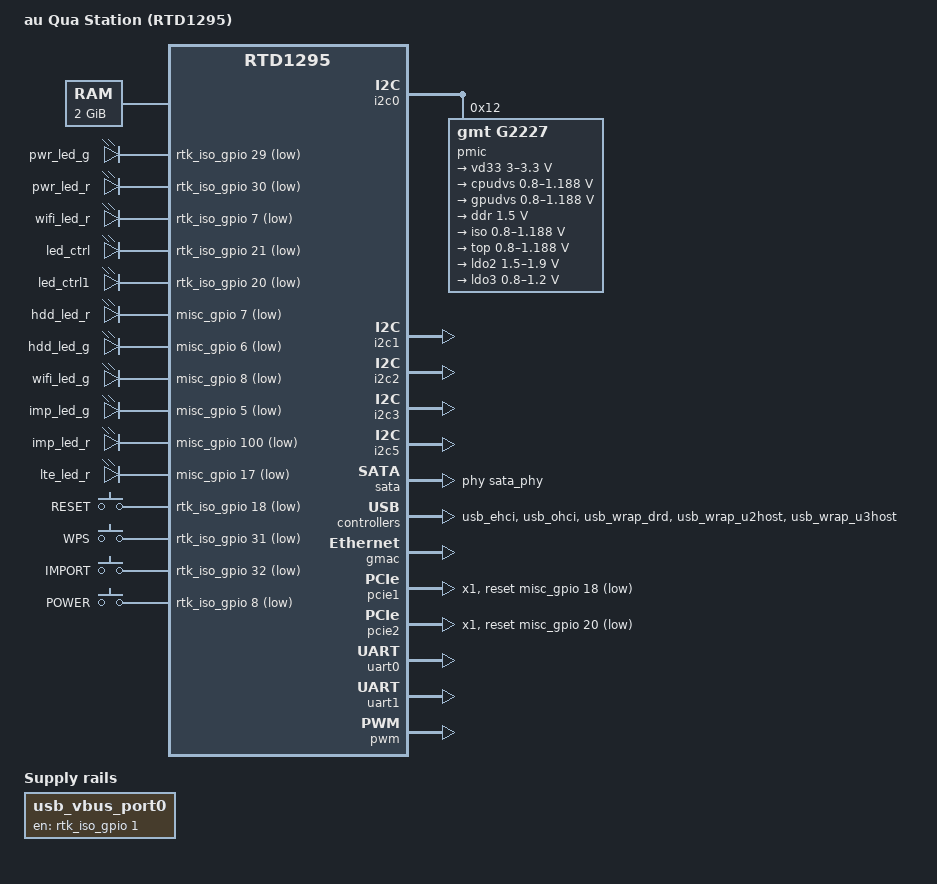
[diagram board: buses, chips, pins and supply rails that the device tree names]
// SPDX-License-Identifier: (GPL-2.0-or-later OR BSD-2-Clause)
/*
 * au Qua Station (KDDI/ASKEY HVD1, RTD1295) -- derived from rtd1295-wd-mycloud-home.dts (symops/monarch-6.18)
 * 2026-09-19 Qua v2.0 DRAFT. WD My Cloud Home device tree
 * Based on Realtek RTD1295 SoC
 *
 * Ported from kernel 4.9.330 to 6.18.2
 * Based on third-party Debian device tree from Russian forum
 * Optimized for Debian/Linux (not Android)
 */

/dts-v1/;

/*
 * Protect the USB-rescue-loader's ramdisk staging area (rescue.root.sata.
 * cpio.gz_pad.img is loaded here, at the fixed address U-Boot's
 * boot_rescue_from_usb script uses). Matches the vendor rescue DTS
 * (rtd-1295-monarch-rescue.dts): ROOTFS_RESCUE_START/SIZE from
 * include/soc/realtek/memory.h. Without this reservation and the
 * chosen/linux,initrd-* properties below, the kernel never learns the
 * ramdisk is there at all -- confirmed on real hardware: U-Boot's own FDT
 * memreserve dump only lists 3 regions without this line (vs. 10 on a
 * working 4.9.330 rescue boot), and the kernel panics with "Unable to
 * mount root fs" instead of "Trying to unpack rootfs image as initramfs".
 */
/memreserve/	0x0000000000000000 0x0000000000030000;
/memreserve/	0x000000000001f000 0x0000000000001000;
/memreserve/	0x0000000000030000 0x00000000000d0000;
/memreserve/	0x0000000002c00000 0x000000000b800000;
/memreserve/	0x0000000001b00000 0x0000000000400000;
/memreserve/	0x0000000002600000 0x0000000000600000;
/memreserve/	0x0000000001ffe000 0x0000000000004000;
/memreserve/	0x0000000011000000 0x0000000009200000;
/memreserve/	0x0000000010000000 0x0000000000014000;
/memreserve/	0x0000000002200000 0x0000000000400000;
/memreserve/	0x0000000001f00000 0x000000000000c000;
/memreserve/	0x0000000010100000 0x0000000000f00000;

#include "rtd1295.dtsi"
#include <dt-bindings/gpio/gpio.h>
#include <dt-bindings/input/input.h>
#include <dt-bindings/thermal/thermal.h>
#include <dt-bindings/reset/realtek,rtd1295.h>

/ {
	compatible = "kddi,qua-station", "askey,hvd1", "realtek,rtd1295";
	model = "au Qua Station (RTD1295)";

	/*
	 * NOTE: The third-party Debian tree this was derived from reports 1 GiB RAM.
	 * Do NOT assume 2 GiB unless confirmed on the target device.
	 *
	 * Also note: this SoC is ARM64, but the upstream RTD129x DTS uses
	 * #address-cells = <1> / #size-cells = <1> at the root (32-bit cells).
	 * That's fine as long as all addresses are below 4 GiB.
	 */
	memory@0 {
		device_type = "memory";
		reg = <0x0 0x80000000>; /* Qua: 2 GiB (BSP memory@0) */
	};

	aliases {
		serial0 = &uart0;
		serial1 = &uart1;
		serial2 = &uart2;
		i2c0 = &i2c0;
		i2c1 = &i2c1;
	};

	chosen {
		bootargs = "earlycon=uart8250,mmio32,0x98007800 console=ttyS0,115200 panic=5";
		stdout-path = "serial0:115200n8";
		/*
		 * ROOTFS_RESCUE_START, see the /memreserve/ comment above.
		 * End is start+4MB, not the full 12MB reservation: the
		 * USB-rescue loader reads a fixed 4194304-byte block for
		 * rescue.root.sata.cpio.gz_pad.img regardless of the real
		 * gzip payload size (matches the working 4.9.330 rescue
		 * boot log: "Freeing initrd memory: 4096K").
		 */
	};

	/* Reserved memory - clean version without vendor rsvmem-remap overlaps */
	reserved-memory {
		#address-cells = <1>;
		#size-cells = <1>;
		ranges;

		linux,cma {
			compatible = "shared-dma-pool";
			reusable;
			size = <0x02000000>;
			linux,cma-default;
		};

		/* ramoops for kernel crash log persistence */
		ramoops@22000000 {
			compatible = "ramoops";
			reg = <0x22000000 0x200000>;
			record-size = <0x4000>;
			console-size = <0x100000>;
			ftrace-size = <0x4000>;
		};
	};

	/* Note: ION memory management is simplified for Debian
	 * Original Debian version kept minimal ION config for compatibility
	 * Full ION nodes will be added if needed
	 */
};

&rbus {
	/*
	 * Vendor RTD129x interrupt mux.
	 *
	 * The vendor I2C binding uses two-cell interrupts (<bank line>) with
	 * interrupt-parent pointing at this mux. The mux itself is chained from
	 * two GIC SPIs (40 and 41) in the extracted DTS.
	 */
	mux_intc: interrupt-controller@1b000 {
		compatible = "Realtek,rtk-irq-mux";
		/* v18: enabled. The earlier "stuck ISO_ISR bit2" was a probe
		 * artifact - the register is a normal W1C event latch (bit0 =
		 * WRITE_DATA convention, see vendor rtk_iso.h), but every probe
		 * command itself generated uart traffic that re-latched the bit.
		 * The real storm cause was printk inside the mux handler feeding
		 * the console uart; the driver is silent now.
		 */
		status = "okay";
		interrupt-controller;
		#interrupt-cells = <2>;

		/* v15: full vendor contract for irq-rtd129x.c - two muxes:
		 * index 0 = MISC @ 0x1b000 (GIC SPI 40), index 1 = ISO @ 0x7000
		 * (GIC SPI 41). intr-status/intr-en are per-mux register offsets;
		 * without them the driver reads uninitialized stack values.
		 */
		Realtek,mux-nr = <2>;
		intr-status = <0x0c 0x00>;
		intr-en = <0x80 0x40>;

		interrupt-parent = <&gic>;
		interrupts = <GIC_SPI 40 IRQ_TYPE_LEVEL_HIGH>,
			     <GIC_SPI 41 IRQ_TYPE_LEVEL_HIGH>;

		/* register windows used by the vendor driver */
		reg = <0x1b000 0x100>, <0x7000 0x100>;
	};

	/*
	 * I2C buses (vendor binding: "realtek,rtk-i2c").
	 */
	i2c0: i2c@7d00 {
		compatible = "realtek,rtk-i2c";
		reg = <0x7d00 0x100>, <0x7000 0x100>;
		interrupt-parent = <&mux_intc>;
		interrupts = <1 8>;
		i2c-num = <0>;
		status = "okay";
		#address-cells = <1>;
		#size-cells = <0>;

		pmic@12 {
			compatible = "gmt,g2227";
			reg = <0x12>;
			status = "okay";

			regulators {
				compatible = "gmt,g2227-regulator";
				status = "okay";

				dc1 { regulator-boot-on; regulator-always-on; regulator-name = "vd33"; regulator-min-microvolt = <3000000>; regulator-max-microvolt = <3300000>; regulator-initial-mode = <1>; };
				dc2 { regulator-boot-on; regulator-always-on; regulator-name = "cpudvs"; regulator-min-microvolt = <800000>; regulator-max-microvolt = <1187500>; regulator-initial-mode = <0>; regulator-state-mem { regulator-off-in-suspend; }; };
				dc3 { regulator-boot-on; regulator-always-on; regulator-name = "gpudvs"; regulator-min-microvolt = <800000>; regulator-max-microvolt = <1187500>; regulator-initial-mode = <0>; regulator-ramp-delay = <625>; regulator-state-mem { regulator-off-in-suspend; }; };
				dc4 { regulator-boot-on; regulator-always-on; regulator-name = "ddr"; regulator-min-microvolt = <1500000>; regulator-max-microvolt = <1500000>; regulator-initial-mode = <0>; regulator-state-coldboot { regulator-off-in-suspend; }; };
				dc5 { regulator-boot-on; regulator-always-on; regulator-name = "iso"; regulator-min-microvolt = <800000>; regulator-max-microvolt = <1187500>; regulator-initial-mode = <0>; };
				dc6 { regulator-boot-on; regulator-always-on; regulator-name = "top"; regulator-min-microvolt = <800000>; regulator-max-microvolt = <1187500>; regulator-initial-mode = <0>; regulator-state-mem { regulator-off-in-suspend; }; };
				ldo2 { regulator-boot-on; regulator-always-on; regulator-name = "ldo2"; regulator-min-microvolt = <1500000>; regulator-max-microvolt = <1900000>; regulator-initial-mode = <0>; regulator-state-mem { regulator-off-in-suspend; }; };
				ldo3 { regulator-boot-on; regulator-always-on; regulator-name = "ldo3"; regulator-min-microvolt = <800000>; regulator-max-microvolt = <1200000>; regulator-initial-mode = <0>; regulator-state-mem { regulator-off-in-suspend; }; };
			};
		};
	};

	i2c1: i2c@7c00 {
		compatible = "realtek,rtk-i2c";
		reg = <0x7c00 0x100>, <0x7000 0x100>;
		interrupt-parent = <&mux_intc>;
		interrupts = <1 11>;
		i2c-num = <1>;
		status = "okay";
		#address-cells = <1>;
		#size-cells = <0>;
	};

	i2c2: i2c@1b700 {
		compatible = "realtek,rtk-i2c";
		reg = <0x1b700 0x100>, <0x1b00c 0x100>;
		interrupt-parent = <&mux_intc>;
		interrupts = <0 26>;
		i2c-num = <2>;
		status = "okay";
		#address-cells = <1>;
		#size-cells = <0>;
	};

	i2c3: i2c@1b900 {
		compatible = "realtek,rtk-i2c";
		reg = <0x1b900 0x100>, <0x1b00c 0x100>;
		interrupt-parent = <&mux_intc>;
		interrupts = <0 23>;
		i2c-num = <3>;
		status = "okay";
		#address-cells = <1>;
		#size-cells = <0>;
	};

	i2c4: i2c@1ba00 {
		compatible = "realtek,rtk-i2c";
		reg = <0x1ba00 0x100>, <0x1b00c 0x100>;
		interrupt-parent = <&mux_intc>;
		interrupts = <0 15>;
		i2c-num = <4>;
		status = "disabled";
		#address-cells = <1>;
		#size-cells = <0>;
	};

	i2c5: i2c@1bb00 {
		compatible = "realtek,rtk-i2c";
		reg = <0x1bb00 0x100>, <0x1b00c 0x100>;
		interrupt-parent = <&mux_intc>;
		interrupts = <0 14>;
		i2c-num = <5>;
		status = "okay";
		#address-cells = <1>;
		#size-cells = <0>;
	};

	/*
	 * ISO_GPIO block -- mainline drivers/gpio/gpio-rtd.c
	 * ("realtek,rtd1295-iso-gpio"), ported from symops/pelican-6.18's
	 * Duo board (same RTD129x-family register layout, same driver, same
	 * mux_intc bank/bit -- see that repo's
	 * rtd1296-wd-mycloud-home-duo.dts for the full derivation of the
	 * reg/interrupts values below, cross-checked here against this
	 * board's own vendor rtd-1295.dtsi rtk_iso_gpio node, which is
	 * identical to Duo's on every field that matters (gpio_base=101,
	 * gpio_numbers=35, mux bank 1 bits 19/20, ISO_GPIO@98007100 /
	 * ISO_SYS@98007000).
	 *
	 * reg[1] is 0x10 bytes, not the vendor's full 0x100-byte page, for
	 * the exact same reason as Duo: that page (&iso, syscon@7000 in
	 * rtd129x.dtsi) is shared with already-working peripherals at their
	 * own small sub-ranges -- pwm@d0 (this board's SYS LED and fan) and
	 * iso_reset@88 -- and claiming the vendor's full reg size here
	 * broke both of those with "-EBUSY: can't request region" on real
	 * Duo hardware before being caught and fixed there. 0x10 bytes
	 * covers only gpa_offset[0]=0x8/gpda_offset[0]=0xc (bank 0, GPIOs
	 * 0-30), same as Duo.
	 */
	rtk_iso_gpio: gpio@7100 {
		compatible = "realtek,rtd1295-iso-gpio";
		reg = <0x7100 0x100>, <0x7000 0x10>;
		interrupt-parent = <&mux_intc>;
		interrupts = <1 19>, <1 20>;
		gpio-controller;
		#gpio-cells = <2>;
		status = "okay";
	};

	/* misc GPIO controller (0x9801b100 = rbus offset 0x1b100).
	 * Same driver as rtk_iso_gpio (gpio-rtd.c: realtek,rtd1295-misc-gpio),
	 * 101 GPIOs (gpio_base=0).
	 *
	 * reg[1] MUST be 0x100, not the 0x10 used by rtk_iso_gpio above.
	 * The iso analogy does not hold: gpio-rtd.c's misc table puts the
	 * per-bank IRQ registers at gpa_offset = {0x40,0x44,0xa4,0xb8} /
	 * gpda_offset = {0x54,0x58,0xa8,0xbc}, whereas iso only needs
	 * gpa[0]=0x8 / gpda[0]=0xc -- so 0x10 leaves *every* misc bank out
	 * of range, bank 0 included. run21 shipped 0x10 and appeared to
	 * work only because ioremap is page-granular (0x1b000-0x1bfff is
	 * one page), so the out-of-bounds accesses went through silently;
	 * that would have become a wrong-register write the moment a GPIO
	 * interrupt consumer (gpio-keys, rfkill) was attached -- the access
	 * stays inside the same mapped page, so it silently hits whatever
	 * register happens to live at that offset instead of faulting.
	 *
	 * There is also no -EBUSY hazard against mux_intc's <0x1b000 0x100>:
	 * irq-rtd129x.c uses of_iomap() (no request_region), as do the
	 * i2c2-i2c5 nodes that map the same window. The iso-side -EBUSY that
	 * motivated the original shrink came from pwm@d0 / iso_reset@88,
	 * which do take devm reservations; nothing equivalent sits here.
	 *
	 * Consumers: gpio-leds (misc 5/6/7/8/17/100), sata power-gpios (16),
	 * pcie1/pcie2 reset-gpios (18/20). misc 19 = USB port power: never touch.
	 */
	misc_gpio: gpio@1b100 {
		compatible = "realtek,rtd1295-misc-gpio";
		reg = <0x1b100 0x100>, <0x1b000 0x100>;
		interrupt-parent = <&mux_intc>;
		interrupts = <0 19>, <0 20>;
		gpio-controller;
		#gpio-cells = <2>;
		status = "okay";
	};

	/*
	 * Cosmetic power-off -- see drivers/power/reset/wdmc-poweroff.c for
	 * the full story on why this isn't a real power cut. reg[0] is the
	 * pwm@d0 block's own OCD register (4 bytes, all 4 channels packed
	 * into one word -- see that node's own comment on why this can't be
	 * an exclusive devm_platform_ioremap_resource() claim).
	 *
	 * USB VBUS: identified from a captured *stock-firmware* boot log of
	 * this exact physical unit (rtk_usb_manager: power-gpio id=19 for
	 * port0, id=102 for port1+port2 sharing one physical port -- global
	 * Linux gpio numbers; misc-gpio's own gpio_base=0/101 lines and
	 * rtk_iso_gpio's gpio_base=101/35 lines, both confirmed in the
	 * vendor's rtd-1295.dtsi, put those at misc-gpio bit 19 directly and
	 * rtk_iso_gpio local line 1 respectively). Unlike Duo (both ports on
	 * rtk_iso_gpio), Monarch's stock split lands one port on misc-gpio,
	 * which has no mainline gpiolib controller in this port -- reg[1]/
	 * reg[2] (DATO/DIR) plus wd,misc-gpio-vbus-bit are the raw-MMIO path
	 * for that one bit; rtk_iso_gpio line 1 is a normal gpiod consumer,
	 * same as Duo's lines. Not yet hardware-tested on Monarch (Duo's
	 * equivalent needed a several-second hold, not a brief pulse, to
	 * show any effect at all -- see wdmc-poweroff.c's header comment).
	 */

	/*
	 * SATA PHY + AHCI controller.
	 * PHY driver: drivers/phy/realtek/phy-rtk-sata.c (mainline)
	 * AHCI reg shrunk to 0xf00 to avoid overlap with PHY at 0x3ff00.
	 */
	sata_phy: sata-phy@3ff00 {
		compatible = "Realtek,rtk-sata-phy";
		reg = <0x3ff00 0x100>, <0x1a980 0x10>;
		#address-cells = <1>;
		#size-cells = <0>;
		#phy-cells = <1>;
		/* run27: clk_en_sata_alive_0 (CRT 0x0c bit 7), as in the 4.9 DTB */
		clocks = <&clk_en_crt 7>;
		status = "okay";

		sata-phy@0 {
			reg = <0>;
			spread-spectrum = <0>;

			/*
			 * Monarch (WD My Cloud Home) board-specific PHY
			 * calibration, copied verbatim from the vendor
			 * rtd-1295-monarch-1GB.dts (sata_phy@9803FF60).
			 * The mainline driver's built-in defaults are for a
			 * different reference board and leave the link dead
			 * (SStatus 0, no OOB signaling at all) on this unit.
			 */


		};
	};

	sata: sata@3f000 {
		compatible = "realtek,rtd1295-ahci";
		reg = <0x3f000 0xf00>;
		interrupts = <GIC_SPI 28 IRQ_TYPE_LEVEL_HIGH>;
		phys = <&sata_phy 0>;
		phy-names = "sata-phy";
		/*
		 * run27: clk_en_sata_0 (bit 2) + clk_en_sata_alive_0 (bit 7),
		 * same pair the 4.9 DTB gives sata@9803F000. Both were
		 * hw_enable=N in clk_summary on run26 -> the 0xdeadbeef reads.
		 * libahci_platform picks these up via devm_clk_bulk_get_all().
		 */
		clocks = <&clk_en_crt 2>, <&clk_en_crt 7>;
		/*
		 * run27b: CRT reset bank1 bits 5 (RSTN_SATA_0), 7
		 * (RSTN_SATA_PHY_0), 10 (RSTN_SATA_PHY_POW_0) -- the 4.9 DTB's
		 * sata-port@0 resets. Measured on QuaStation's USB boot path
		 * with clocks already on: 0x98000000 == 0xa7800755, i.e. bits
		 * 5 and 7 still ASSERTED (unlike Monarch, whose bootloader
		 * releases them), and every AHCI/PHY register reads 0xdeadbeef.
		 * libahci_platform deasserts these after enabling clocks
		 * (AHCI_PLATFORM_GET_RESETS), before phy_init().
		 */
		resets = <&reset1 5>, <&reset1 7>, <&reset1 10>;
		/*
		 * run27c: drive-bay power. QuaStation = misc GPIO 16 (vendor
		 * sata-port@0 gpios), NOT the Monarch's misc 18. Confirmed live:
		 * with 16 low the link stays at SStatus 0; gpioset 16=1 + rescan
		 * brought the 1TB SSD up at 3.0 Gbps.
		 */
		power-gpios = <&misc_gpio 16 GPIO_ACTIVE_HIGH>;
		status = "okay";
	};

	/*
	 * GMAC — RTD1295 SoC-internal Gigabit Ethernet.
	 * Uses vendor platform driver r8169soc (compatible "Realtek,r8168").
	 *
	 * Two register ranges, both RBUS-relative:
	 *   0x16000  1K  — MAC registers        (absolute 0x98016000)
	 *   0x7000   1K  — ISO domain registers (absolute 0x98007000)
	 *
	 * The driver uses mmio_clkaddr (range 1) for clock-gate and reset
	 * control of the ETN block.  No RTD1295 clock driver exists in
	 * mainline 6.18, so clocks are declared as optional in r8169soc.c
	 * (hardware clocks remain enabled from the vendor bootloader at
	 * kexec time).
	 *
	 * output-mode = 0 → embedded PHY (RGMII internal).
	 * mac-version  = 0x2a → RTL8168H embedded MAC.
	 */
	/*
	 * v19: USB. RTD1295 has three dwc3 blocks; the WD My Cloud Home's
	 * rear USB-A port is served by the u2host block (vendor-enabled) and
	 * u3host (vendor-disabled but SS-wired). DRD (vendor: adb gadget) is
	 * left out. PHYs are the mainline realtek phy-rtk-usb2/usb3 drivers;
	 * their reg windows live inside the vendor dwc3 wrapper regions.
	 * Resets are the 9 lines the vendor usb-manager deasserts, as shared
	 * arrays so both controllers can list the common ones. clk_en_usb
	 * (CRT 0x0c bit 4) and the VBUS gpio (misc-gpio 19) are poked from
	 * the initramfs - no mainline clk/needed-gpio wiring yet.
	 */
	usb2phy_u2: usb-phy@13c14 {
		compatible = "realtek,rtd1295-usb2phy";
		reg = <0x13c14 0x4>, <0x31280 0x4>;
		#phy-cells = <0>;
	};

	usb2phy_u3: usb-phy@13e14 {
		compatible = "realtek,rtd1295-usb2phy";
		reg = <0x13e14 0x4>, <0x1f8280 0x4>;
		#phy-cells = <0>;
	};

	usb3phy_u3: usb-phy@13e10 {
		compatible = "realtek,rtd1295-usb3phy";
		reg = <0x13e10 0x4>;
		#phy-cells = <0>;
	};

	/* v42: on-die thermal sensor (scpu_wrapper block) */
	soc_thermal: thermal-sensor@1d150 {
		compatible = "realtek,rtd129x-thermal-sensor";
		reg = <0x1d150 0x20>;
		#thermal-sensor-cells = <0>;
	};

	usb2phy_drd: usb-phy@13214 {
		compatible = "realtek,rtd1295-usb2phy";
		reg = <0x13214 0x4>, <0x28280 0x4>;
		#phy-cells = <0>;
	};

	usb3phy_drd: usb-phy@13210 {
		compatible = "realtek,rtd1295-usb3phy";
		reg = <0x13210 0x4>;
		#phy-cells = <0>;
	};

	/* v43: vendor "port2" = the box's standalone USB 2.0 socket.
	 * The 4.9 vendor DTB routes it through EHCI 0x98013000 + OHCI 0x98013400
	 * (rtd-129x-usb.dtsi: port2 = <&ehci &ohci>), NOT through any dwc3/xhci
	 * block -- which is why mainline, having no ehci/ohci node at all, sees
	 * absolutely nothing when a device is plugged into that socket.
	 *
	 * Prerequisites already satisfied by the existing tree:
	 *  - reset: u2phy2 == <&reset2 RTD1295_RSTN_USB_PHY2> is already
	 *    deasserted by usb_u2host above.
	 *  - clocks: rtd-129x-usb.dtsi declares no clock-names at all on 1295
	 *    (clk_en_phy*_to_host only exists on 139x/16xx), so the vendor
	 *    manager's clk calls are no-ops here. Nothing to gate.
	 *  - VBUS: realtek,port2-power-gpio = <&rtk_misc_gpio 19> and it is
	 *    shared with port1 (the on-board LTE modem), which enumerates fine,
	 *    so the rail is already up. Tested by hand: driving misc19 either
	 *    way changes nothing.
	 *
	 * Open question: the vendor PHY "Realtek,rtd129x-usb_phy_rle0599" writes
	 * page0/page1 parameter blocks that have no mainline equivalent. We first
	 * try without any phy at all -- if the host registers but never detects a
	 * device, that pins the failure on the missing PHY programming.
	 * OHCI additionally wants wrap_reg 0x98013820, which generic-ohci does not
	 * touch, so EHCI (high speed) is the one to judge by.
	 */
	usb_ehci: usb@13000 {
		compatible = "generic-ehci";
		reg = <0x13000 0x100>;
		interrupts = <GIC_SPI 21 IRQ_TYPE_LEVEL_HIGH>;
	};

	usb_ohci: usb@13400 {
		compatible = "generic-ohci";
		reg = <0x13400 0x100>;
		interrupts = <GIC_SPI 21 IRQ_TYPE_LEVEL_HIGH>;
	};

	usb_wrap_drd: usb@13200 {
		/* v21: the DRD block drives the physical USB-A port on this box
		 * (vendor ran it as an adb gadget and role-switched in software;
		 * u3host is unwired). Run it as a plain host.
		 */
		compatible = "realtek,rtd1295-dwc3", "realtek,rtd-dwc3";
		reg = <0x13200 0x200>;
		#address-cells = <1>;
		#size-cells = <1>;
		ranges;

		usb_drd: usb@20000 {
			compatible = "snps,dwc3";
			reg = <0x20000 0x9000>;
			interrupts = <GIC_SPI 21 IRQ_TYPE_LEVEL_HIGH>;
			phys = <&usb2phy_drd>, <&usb3phy_drd>;
			phy-names = "usb2-phy", "usb3-phy";
			dr_mode = "host";
			snps,dis_u2_susphy_quirk;
			snps,dis_ss_park_mode;
			resets = <&reset1 RTD1295_RSTN_USB>,
				 <&reset1 RTD1295_RSTN_USB_PHY0>,
				 <&reset1 RTD1295_RSTN_USB3_PHY0_POW>,
				 <&reset1 RTD1295_RSTN_USB3_P0_MDIO>;
		};
	};

	usb_wrap_u2host: usb@13c00 {
		/* v20: mainline dwc3-rtk glue wrapper. The parent compatible
		 * "realtek,rtd-dwc3" also makes dwc3 core use the RTD globals
		 * offset 0x8100 instead of 0xc100 (the v39 -EBUSY failure).
		 */
		compatible = "realtek,rtd1295-dwc3", "realtek,rtd-dwc3";
		reg = <0x13c00 0x200>;
		#address-cells = <1>;
		#size-cells = <1>;
		ranges;

		usb_u2host: usb@29000 {
			compatible = "snps,dwc3";
			reg = <0x29000 0x9000>;
			interrupts = <GIC_SPI 21 IRQ_TYPE_LEVEL_HIGH>;
			phys = <&usb2phy_u2>;
			phy-names = "usb2-phy";
			dr_mode = "host";
			snps,dis_u2_susphy_quirk;
			resets = <&reset1 RTD1295_RSTN_USB>,
				 <&reset1 RTD1295_RSTN_USB_PHY0>,
				 <&reset1 RTD1295_RSTN_USB_PHY1>,
				 <&reset2 RTD1295_RSTN_USB_PHY2>,
				 <&reset2 RTD1295_RSTN_USB_PHY3>;
		};
	};

	usb_wrap_u3host: usb@13e00 {
		compatible = "realtek,rtd1295-dwc3", "realtek,rtd-dwc3";
		reg = <0x13e00 0x200>;
		#address-cells = <1>;
		#size-cells = <1>;
		ranges;

		usb_u3host: usb@1f0000 {
			compatible = "snps,dwc3";
			reg = <0x1f0000 0x9000>;
			interrupts = <GIC_SPI 21 IRQ_TYPE_LEVEL_HIGH>;
			phys = <&usb2phy_u3>, <&usb3phy_u3>;
			phy-names = "usb2-phy", "usb3-phy";
			dr_mode = "host";
			snps,dis_u2_susphy_quirk;
			snps,dis_ss_park_mode;
			resets = <&reset1 RTD1295_RSTN_USB>,
				 <&reset1 RTD1295_RSTN_USB3_PHY0_POW>,
				 <&reset1 RTD1295_RSTN_USB3_P0_MDIO>,
				 <&reset2 4>,
				 <&reset2 RTD1295_RSTN_USB3_P1_MDIO>;
		};
	};

	gmac: ethernet@16000 {
		compatible = "Realtek,r8168";
		reg = <0x16000 0x1000>, <0x7000 0x1000>;
		interrupt-parent = <&gic>;
		interrupts = <GIC_SPI 22 IRQ_TYPE_LEVEL_HIGH>;
		resets = <&iso_reset RTD1295_ISO_RSTN_GMAC>,
			 <&iso_reset RTD1295_ISO_RSTN_GPHY>;
		reset-names = "gmac", "gphy";
		output-mode = <0>;
		mac-version = <0x2a>;
		ext-phy-id = <1>;
		rtl-config = <1>;
		rtl-features = <2>;
		eee = <1>;
		rgmii-voltage = <1>;
		rgmii-tx-delay = <0>;
		rgmii-rx-delay = <0>;
		status = "okay";
	};

	/*
	 * SPI-NOR flash controller (SFC). Single fixed chip, no child
	 * nodes -- matches the vendor DTS (sfc@9801a800). This is the
	 * same 1MB boot SPI-NOR that holds the FSBL; mtd0 offset 0 is the
	 * vendor's dedicated RTC timestamp scratch area (see rtc-rtk.c /
	 * the WD-RTC driver below), verified safe on real hardware before
	 * porting (confirmed valid {seconds, ~seconds} pair already there,
	 * not FSBL data).
	 */
	/*
	 * run28: PCIe root ports. Driver drivers/pci/controller/pcie-rtd129x.c
	 * (A. Faerber's, with the soc_device dependency replaced by a direct
	 * SB2 CHIP_REV read via realtek,sb2-syscon). Live QuaStation: A01, so
	 * only the PHY_A quirk applies (= vendor phys_a table); no SB4 quirk,
	 * and the vendor's pinmux write is commented out in the BSP too.
	 *  slot1 (pcie1, PCIe 1.1): RTL8192EE 2.4GHz  clk crt@c bit1, PERST misc 18
	 *  slot2 (pcie2, PCIe 2.0): RTL8812AE 5GHz    clk crt@10 bit5, PERST misc 20
	 * Reset ids / clock bits / IRQs / MMIO windows machine-checked against
	 * the running 4.9 DTB (pcie@9804E000, pcie2@9803B000). Vendor slot2
	 * has speed-mode = 0 (GEN1) -> max-link-speed = <1> here as well.
	 */
	pcie1: pci@4e000 {
		device_type = "pci";
		compatible = "realtek,rtd1295-pcie-1.1";
		reg = <0x4e000 0x1000>,
		      <0x4f000 0x1000>,
		      <0xc0000000 0x01000000>;
		realtek,sb2-syscon = <&sb2>;
		clocks = <&clk_en_crt 1>;
		resets = <&reset2 RTD1295_RSTN_PCIE0>,
			 <&reset2 RTD1295_RSTN_PCIE0_CORE>,
			 <&reset2 RTD1295_RSTN_PCIE0_POWER>,
			 <&reset2 RTD1295_RSTN_PCIE0_STITCH>,
			 <&reset2 RTD1295_RSTN_PCIE0_NONSTICH>,
			 <&reset2 RTD1295_RSTN_PCIE0_PHY>,
			 <&reset4 RTD1295_RSTN_PCIE0_PHY_MDIO>;
		reset-names = "pcie", "pcie_core", "pcie_power", "pcie_stitch",
			      "pcie_nonstitch", "pcie_phy", "pcie_phy_mdio";
		reset-gpios = <&misc_gpio 18 GPIO_ACTIVE_LOW>;
		interrupts = <GIC_SPI 61 IRQ_TYPE_LEVEL_HIGH>;
		#interrupt-cells = <1>;
		interrupt-map-mask = <0 0 0 7>;
		interrupt-map = <0 0 0 1 &pcie1_intc 0>,
				<0 0 0 2 &pcie1_intc 1>,
				<0 0 0 3 &pcie1_intc 2>,
				<0 0 0 4 &pcie1_intc 3>;
		bus-range = <0x00 0xff>;
		num-lanes = <1>;
		max-link-speed = <1>;
		linux,pci-domain = <0>;
		#address-cells = <3>;
		#size-cells = <2>;
		ranges = <0x02000000 0x00000000 0xc0000000  0xc0000000  0x00000000 0x01000000>;
		status = "okay";

		pcie1_intc: interrupt-controller {
			interrupt-controller;
			#interrupt-cells = <1>;
		};
	};

	pcie2: pci@3b000 {
		device_type = "pci";
		compatible = "realtek,rtd1295-pcie-2.0";
		reg = <0x3b000 0x1000>,
		      <0x3c000 0x1000>,
		      <0xc1000000 0x01000000>;
		realtek,sb2-syscon = <&sb2>;
		clocks = <&clk_en_crt2 5>;
		resets = <&reset2 RTD1295_RSTN_PCIE1>,
			 <&reset2 RTD1295_RSTN_PCIE1_CORE>,
			 <&reset2 RTD1295_RSTN_PCIE1_POWER>,
			 <&reset2 RTD1295_RSTN_PCIE1_STITCH>,
			 <&reset2 RTD1295_RSTN_PCIE1_NONSTICH>,
			 <&reset2 RTD1295_RSTN_PCIE1_PHY>,
			 <&reset4 RTD1295_RSTN_PCIE1_PHY_MDIO>;
		reset-names = "pcie", "pcie_core", "pcie_power", "pcie_stitch",
			      "pcie_nonstitch", "pcie_phy", "pcie_phy_mdio";
		reset-gpios = <&misc_gpio 20 GPIO_ACTIVE_LOW>;
		interrupts = <GIC_SPI 62 IRQ_TYPE_LEVEL_HIGH>;
		#interrupt-cells = <1>;
		interrupt-map-mask = <0 0 0 7>;
		interrupt-map = <0 0 0 1 &pcie2_intc 0>,
				<0 0 0 2 &pcie2_intc 1>,
				<0 0 0 3 &pcie2_intc 2>,
				<0 0 0 4 &pcie2_intc 3>;
		bus-range = <0x00 0xff>;
		num-lanes = <1>;
		max-link-speed = <1>;
		linux,pci-domain = <1>;
		#address-cells = <3>;
		#size-cells = <2>;
		ranges = <0x02000000 0x00000000 0xc1000000  0xc1000000  0x00000000 0x01000000>;
		status = "okay";

		pcie2_intc: interrupt-controller {
			interrupt-controller;
			#interrupt-cells = <1>;
		};
	};
};

&uart0 {
	/* v18: IRQ via ISO mux (index 1, status bit 2). interrupts-st-mask
	 * matches the vendor DT; mainline 8250 ignores it (the mux driver
	 * acks the latch instead).
	 */
	interrupt-parent = <&mux_intc>;
	interrupts = <1 2>;
	interrupts-st-mask = <0x4>;
	status = "okay";
};

&uart1 {
	status = "okay"; /* Qua: RTL8761ATV Bluetooth (H5) */
	/* run20: IRQ via MISC mux (index 0, bits 3+5), value taken verbatim
	 * from 4.9 running-4.9.dts uart1 node (interrupt-parent phandle 0x27
	 * = this mux_intc, interrupts = <0x00 0x03 0x00 0x05>).
	 */
	interrupt-parent = <&mux_intc>;
	interrupts = <0 3>, <0 5>;
};

&uart2 {
	status = "disabled";
};

/* v17: spin-table restored. smp_spin_table.c now detects a non-memory
 * release address and uses the vendor access pattern (plain ioremap +
 * 32-bit writel + sev) instead of ioremap_cache + writeq + dcache
 * maintenance, which hard-hung the interconnect (the v23 failure).
 */
&cpu0 {
	enable-method = "spin-table";
	cpu-release-addr = <0x0 0x9801aa44>;
};

&cpu1 {
	enable-method = "spin-table";
	cpu-release-addr = <0x0 0x9801aa44>;
};

&cpu2 {
	enable-method = "spin-table";
	cpu-release-addr = <0x0 0x9801aa44>;
};

&cpu3 {
	enable-method = "spin-table";
	cpu-release-addr = <0x0 0x9801aa44>;
};


/*
 * Vendor 4.9 uses a Realtek-specific "rtk-spin-table" CPU bring-up path.
 * Mainline arm64 doesn't know that cpu_ops name, but it does support the
 * generic spin-table protocol, which uses the same release address polling
 * model for secondaries.
 */




/* TODO: Port I2C controllers from extracted.dts
 * - i2c@0x98007D00 (I2C0) with PMIC g2227@12
 * - i2c@0x98007C00 (I2C1)
 * - i2c@0x9801B700 (I2C2)
 * - i2c@0x9801B900 (I2C3)
 * - i2c@0x9801BA00 (I2C4)
 * - i2c@0x9801BB00 (I2C5)
 */

/* TODO: Port USB controllers
 * - dwc3_drd_usb2phy
 * - dwc3_drd_usb3phy
 * - rtk_dwc3_drd
 * - rtk_dwc3_u2host
 */

/* TODO: Port SATA controller
 * - sata_phy@9803FF60
 * - sata@9803F000
 */

/*
 * The GMAC node goes inside &rbus (both reg ranges are RBUS-relative).
 * See note below the &rbus block for details.
 */

/* TODO: Port GPIO and pinctrl
 * - pinctrl@9801A000
 * - rtk_iso_gpio@98007100
 * - rtk_misc_gpio@9801b100
 */

/* TODO: Port power management
 * - power-management@0
 * - cpu-dvfs
 */

/* TODO: Port thermal zones
 * - thermal-zones
 */

/ {
	thermal-zones {
		soc-thermal {
			polling-delay-passive = <250>;
			polling-delay = <10000>;
			thermal-sensors = <&soc_thermal>;

			trips {
				soc_hot: soc-hot {
					temperature = <85000>;
					hysteresis = <5000>;
					type = "passive";
				};

				soc-crit {
					temperature = <105000>;
					hysteresis = <2000>;
					type = "critical";
				};
			};

			cooling-maps {
				map0 {
					trip = <&soc_hot>;
					cooling-device = <&cpu0 THERMAL_NO_LIMIT THERMAL_NO_LIMIT>,
							 <&cpu1 THERMAL_NO_LIMIT THERMAL_NO_LIMIT>,
							 <&cpu2 THERMAL_NO_LIMIT THERMAL_NO_LIMIT>,
							 <&cpu3 THERMAL_NO_LIMIT THERMAL_NO_LIMIT>;
				};
			};
		};
	};
};

&iso {
	pwm: pwm@d0 {
		compatible = "realtek,rtd129x-pwm";
		reg = <0xd0 0xc>;
		clocks = <&osc27M>;
		#pwm-cells = <2>;
	};

	/*
	 * The RTD1295 hardware RTC counter at this offset has no battery
	 * backup on this board and free-runs from an arbitrary reset value
	 * -- useless for keeping actual time across a power cycle (this is
	 * why mainline's rtc-rtd119x.c, which drives it directly, always
	 * reports 2014-01-01 after boot on this device). The vendor
	 * firmware never actually uses it either: it persists the clock in
	 * SPI-NOR flash instead (see &sfc and drivers/rtc/rtc-wd-mch-
	 * flash.c). This node is intentionally left unbound; no driver
	 * claims "realtek,rtd1295-rtc" here.
	 */

};

/ {

	/*
	 * Reset button, ported from symops/pelican-6.18's Duo board -- see
	 * that repo's rtd1296-wd-mycloud-home-duo.dts for the full story
	 * (MCG1-6.18 analogy, real IRQ vs. MCG1's forced polling, and why
	 * the vendor's power-management wakeup-gpio-list is not a reliable
	 * lead for which GPIO this is).
	 *
	 * GPIO 34, confirmed on real Monarch hardware the same way Duo's
	 * GPIO 20 was: `gpioget -c gpiochip0 <all 34 other lines>` run once
	 * unpressed and once with the button held, diffing the two dumps.
	 * Exactly one line flipped, active -> inactive, between the two
	 * reads. Neither of this board's own vendor wakeup-gpio-list
	 * candidates (GPIO 14 or 33, rtd-1295-monarch-1GB.dts -- both
	 * marked disabled there, wakeup-gpio-enable = <0>, <0>;) was it;
	 * 33 was close but wrong, same as Duo's list pointing at 22 instead
	 * of the real 20. This list is evidently not a reliable lead on
	 * either board.
	 */
};

&crt {
	/*
	 * No "reg" here: the two registers this clock touches (divider at
	 * CRT offset 0x030, PLL/SSC1 control at 0x500+) are far apart in
	 * the same block, so the driver reaches both through &crt's own
	 * syscon regmap instead of owning a private MMIO sub-window.
	 */
	scpu_clk: clock-controller {
		compatible = "realtek,rtd129x-scpu-clk";
		clocks = <&osc27M>;
		#clock-cells = <0>;
	};
};

/*
 * cpufreq: divider-only scaling below the boot operating point.  The
 * boot loader leaves PLL_SCPU at 1201.5 MHz with the post-divider at
 * /2, so this board has always run at 600.75 MHz; the OPPs are that
 * proven point and its half.  No opp-microvolt on purpose: the cpudvs
 * rail is never touched, both OPPs are safe at whatever voltage the
 * board booted with.
 */
&cpu0 {
	clocks = <&scpu_clk>;
	#cooling-cells = <2>;
	operating-points-v2 = <&cpu_opps>;
};

&cpu1 {
	clocks = <&scpu_clk>;
	#cooling-cells = <2>;
	operating-points-v2 = <&cpu_opps>;
};

&cpu2 {
	clocks = <&scpu_clk>;
	#cooling-cells = <2>;
	operating-points-v2 = <&cpu_opps>;
};

&cpu3 {
	clocks = <&scpu_clk>;
	#cooling-cells = <2>;
	operating-points-v2 = <&cpu_opps>;
};

/ {
	cpu_opps: opp-table-cpu {
		compatible = "operating-points-v2";
		opp-shared;

		opp-300375000 {
			opp-hz = /bits/ 64 <300375000>;
			clock-latency-ns = <150000>;
		};

		opp-600750000 {
			opp-hz = /bits/ 64 <600750000>;
			clock-latency-ns = <150000>;
			opp-suspend;
		};

		opp-1100000000 {
			opp-hz = /bits/ 64 <1100000000>;
			clock-latency-ns = <300000>;
		};
	};
};

/ {
	leds {
		compatible = "gpio-leds";
		/* run24 (2026-09-20): 実機で全LEDを点灯させて物理位置とラベルの対応を確定した。
		 * 物理LEDは5箇所、すべて緑/赤の2色LED(両方点けるとオレンジ)。
		 *   前面中 = wifi_led (g=misc 8,  r=iso 7)
		 *   前面右 = hdd_led  (g=misc 6,  r=misc 7)
		 *   上部   = imp_led  (g=misc 5,  r=misc 100)   COPYボタンの横
		 *   前面左 = lte_led  (g=misc 19, r=misc 17)    LTE非搭載だが実装されている
		 *   背面下 = pwr_led  (g=iso 29,  r=iso 30)     視認性が悪い
		 * 「前面」= USB端子のある面(本来の背面)。かずの呼び方に合わせている。
		 * 4.9 実測: brightness 0 で点灯 = active-low。label は 4.9 の sysfs 名。
		 *
		 * 🚫 lte_led_g (misc 19) は意図的に入れていない。4.9 の rtk_usb_manager が
		 * realtek,port1-power-gpio / port2-power-gpio に同じ misc 19 を使っており、
		 * 現在 rootfs が USB(/dev/sda) にあるため、動かすと起動ディスクの電源が落ちる。
		 */

		/* --- iso GPIO 側 --- */
		pwr_led_g { label = "pwr_led_g"; gpios = <&rtk_iso_gpio 29 GPIO_ACTIVE_LOW>; default-state = "off"; };
		pwr_led_r { label = "pwr_led_r"; gpios = <&rtk_iso_gpio 30 GPIO_ACTIVE_LOW>; default-state = "off"; };
		wifi_led_r { label = "wifi_led_r"; gpios = <&rtk_iso_gpio 7 GPIO_ACTIVE_LOW>; default-state = "off"; };
		led_ctrl { label = "led_ctrl"; gpios = <&rtk_iso_gpio 21 GPIO_ACTIVE_LOW>; default-state = "off"; };
		led_ctrl1 { label = "led_ctrl1"; gpios = <&rtk_iso_gpio 20 GPIO_ACTIVE_LOW>; default-state = "on"; };

		/* --- misc GPIO 側 (run22 で gpiochip1 として動作確認済み) --- */

		/* 前面右 = ブートインジケータ。かず要望「起動中は赤、起動したら緑」。
		 * カーネル側は赤を点ける所まで。緑への切替は起動完了後に systemd
		 * (qua-boot-led.service) が行う。gpio-leds が probe した時点から赤なので、
		 * U-Boot の間は制御外である点に注意。 */
		hdd_led_r { label = "hdd_led_r"; gpios = <&misc_gpio 7 GPIO_ACTIVE_LOW>; default-state = "on"; };
		hdd_led_g { label = "hdd_led_g"; gpios = <&misc_gpio 6 GPIO_ACTIVE_LOW>; default-state = "off"; };

		wifi_led_g { label = "wifi_led_g"; gpios = <&misc_gpio 8 GPIO_ACTIVE_LOW>; default-state = "off"; };
		imp_led_g { label = "imp_led_g"; gpios = <&misc_gpio 5 GPIO_ACTIVE_LOW>; default-state = "off"; };
		/* run24: 上部(視認性が良い)の赤をカーネルパニック表示に割り当てる。
		 * この機体はシリアルコンソールが出ていないため、パニックしたのか
		 * ハングしたのかを切り分ける手段が他に無い。CONFIG_LEDS_TRIGGER_PANIC=y。
		 * run25: `panic-indicator;` が必要。ledtrig-panic.c は LED_PANIC_INDICATOR
		 * フラグを持つ LED しか panic notifier で付け替えず、そのフラグは
		 * leds-gpio.c の fwnode_property_present(child, "panic-indicator") からしか
		 * 立たない。トリガ指定だけでは点滅遅延の解除が掛からない。 */
		imp_led_r { label = "imp_led_r"; gpios = <&misc_gpio 100 GPIO_ACTIVE_LOW>; linux,default-trigger = "panic"; panic-indicator; };
		lte_led_r { label = "lte_led_r"; gpios = <&misc_gpio 17 GPIO_ACTIVE_LOW>; default-state = "off"; };
	};

	gpio_keys: gpio-keys {
		compatible = "gpio-keys";
		/* run24: 極性を ACTIVE_HIGH -> ACTIVE_LOW に修正。
		 * 根拠: IMPORT(=前面のCOPYボタン)を実機で3回押した evtest の生出力で、
		 * 押下時に value 0 / 離した時に value 1 が出ていた = プルアップ+押下でGND。
		 * ACTIVE_HIGH のままでもエッジは両方取れるので実害は無かったが、
		 * 押しっぱなし判定(長押しでpoweroff等)をするには向きが正しい必要がある。
		 * RESET / WPS は物理的に押しにくく未検証だが、同一基板・同一ボタン列なので
		 * 同じ極性とみなす。誤っていた場合も押下/離しが反転するだけ。 */
		reset { label = "RESET"; gpios = <&rtk_iso_gpio 18 GPIO_ACTIVE_LOW>; linux,code = <KEY_RESTART>; };
		wps { label = "WPS"; gpios = <&rtk_iso_gpio 31 GPIO_ACTIVE_LOW>; linux,code = <KEY_WPS_BUTTON>; };
		import { label = "IMPORT"; gpios = <&rtk_iso_gpio 32 GPIO_ACTIVE_LOW>; linux,code = <KEY_COPY>; };

		/* run24: POWER(iso 8) を有効化。4.9 の Askey,gpio-btns に POWER として
		 * 定義されていたもの。極性が上記で判明したため有効化の根拠ができた。
		 * ⚠️ KEY_POWER は systemd-logind の HandlePowerKey に直結する。
		 * 物理ボタンの所在が未確認なので、誤爆を避けるため KEY_POWER ではなく
		 * KEY_PROG1 で上げ、evtest で素性を確かめてから KEY_POWER に変える。 */
		power { label = "POWER"; gpios = <&rtk_iso_gpio 8 GPIO_ACTIVE_LOW>; linux,code = <KEY_PROG1>; };
	};
};

/*
 * run8 (2026-09-19 21:45): 最小構成での切り分け。run7 は LED 初期化直後に停止したため、
 * 起動に不要なものを全部止める。上がったら一つずつ status = "okay" に戻す。
 * CPU は CMDLINE の maxcpus=1 で 1 個だけ(spin-table 経路を通さない)。
 */

/* run14 (2026-09-19 22:50): USB ポート電源。4.9 rtk_usb_manager: port0-power-gpio = iso 1(出力),
 * port1/2-power-gpio = misc 19(出力)。misc 側はこのツリーにドライバが無いので initramfs から MMIO 直叩き。 */
/ {
	usb_vbus_port0: regulator-usb-vbus-port0 {
		compatible = "regulator-fixed";
		regulator-name = "usb-vbus-port0";
		gpio = <&rtk_iso_gpio 1 GPIO_ACTIVE_HIGH>;
		enable-active-high;
		regulator-always-on;
		regulator-boot-on;
	};
};
